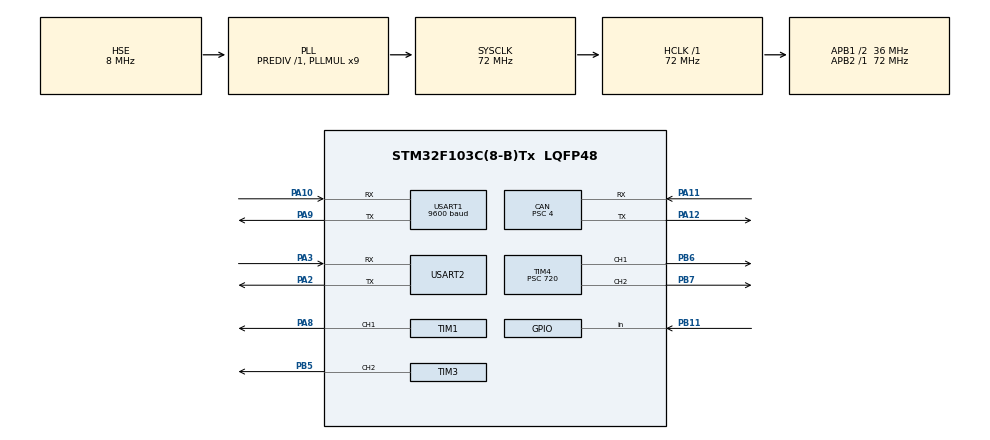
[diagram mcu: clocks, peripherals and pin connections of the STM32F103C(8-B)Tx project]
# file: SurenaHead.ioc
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CAN.BS1=CAN_BS1_3TQ
CAN.BS2=CAN_BS2_5TQ
CAN.CalculateBaudRate=1000000
CAN.CalculateTimeBit=1000
CAN.CalculateTimeQuantum=111.11111111111111
CAN.Mode=CAN_MODE_NORMAL
CAN.NART=DISABLE
CAN.Prescaler=4
CAN.SJW=CAN_SJW_1TQ
Dma.Request0=TIM1_CH1
Dma.TIM1_CH1.0.Direction=DMA_MEMORY_TO_PERIPH
Dma.TIM1_CH1.0.Instance=DMA1_Channel2
Dma.TIM1_CH1.0.MemDataAlignment=DMA_MDATAALIGN_HALFWORD
Dma.TIM1_CH1.0.MemInc=DMA_MINC_ENABLE
Dma.TIM1_CH1.0.Mode=DMA_NORMAL
Dma.TIM1_CH1.0.PeriphDataAlignment=DMA_PDATAALIGN_HALFWORD
Dma.TIM1_CH1.0.PeriphInc=DMA_PINC_DISABLE
Dma.TIM1_CH1.0.Priority=DMA_PRIORITY_LOW
Mcu.Family=STM32F1
Mcu.Name=STM32F103C(8-B)Tx
Mcu.Package=LQFP48
NVIC.DMA1_Channel2_IRQn=true\:0\:0\:false\:false\:true\:false\:true\:true
NVIC.PriorityGroup=NVIC_PRIORITYGROUP_4
NVIC.USB_LP_CAN1_RX0_IRQn=true\:0\:0\:false\:false\:true\:true\:true\:true
PA10.Mode=Asynchronous
PA10.Signal=USART1_RX
PA11.Mode=CAN_Activate
PA11.Signal=CAN_RX
PA12.Mode=CAN_Activate
PA12.Signal=CAN_TX
PA13.Mode=Trace_Asynchronous_SW
PA13.Signal=SYS_JTMS-SWDIO
PA14.Mode=Trace_Asynchronous_SW
PA14.Signal=SYS_JTCK-SWCLK
PA2.Mode=Asynchronous
PA2.Signal=USART2_TX
PA3.Mode=Asynchronous
PA3.Signal=USART2_RX
PA8.Signal=S_TIM1_CH1
PA9.Mode=Asynchronous
PA9.Signal=USART1_TX
PB11.Signal=GPIO_Input
PB3.Mode=Trace_Asynchronous_SW
PB3.Signal=SYS_JTDO-TRACESWO
PB5.Signal=S_TIM3_CH2
PB6.Signal=S_TIM4_CH1
PB7.Signal=S_TIM4_CH2
PD0-OSC_IN.Mode=HSE-External-Oscillator
PD0-OSC_IN.Signal=RCC_OSC_IN
PD1-OSC_OUT.Mode=HSE-External-Oscillator
PD1-OSC_OUT.Signal=RCC_OSC_OUT
ProjectManager.HeapSize=0x200
ProjectManager.StackSize=0x400
ProjectManager.TargetToolchain=STM32CubeIDE
RCC.AHBFreq_Value=72000000
RCC.APB1CLKDivider=RCC_HCLK_DIV2
RCC.APB1Freq_Value=36000000
RCC.APB1TimFreq_Value=72000000
RCC.APB2Freq_Value=72000000
RCC.APB2TimFreq_Value=72000000
RCC.HCLKFreq_Value=72000000
RCC.PLLMUL=RCC_PLL_MUL9
RCC.PLLSourceVirtual=RCC_PLLSOURCE_HSE
RCC.SYSCLKFreq_VALUE=72000000
RCC.SYSCLKSource=RCC_SYSCLKSOURCE_PLLCLK
RCC.USBFreq_Value=72000000
SH.S_TIM1_CH1.0=TIM1_CH1,PWM Generation1 CH1
SH.S_TIM3_CH2.0=TIM3_CH2,PWM Generation2 CH2
SH.S_TIM4_CH1.0=TIM4_CH1,PWM Generation1 CH1
SH.S_TIM4_CH2.0=TIM4_CH2,PWM Generation2 CH2
TIM1.Channel-PWM\ Generation1\ CH1=TIM_CHANNEL_1
TIM1.Period=72
TIM1.Prescaler=0
TIM3.Channel-PWM\ Generation2\ CH2=TIM_CHANNEL_2
TIM3.Period=2000
TIM3.Prescaler=720
TIM3.Pulse-PWM\ Generation2\ CH2=100
TIM4.Channel-PWM\ Generation1\ CH1=TIM_CHANNEL_1
TIM4.Channel-PWM\ Generation2\ CH2=TIM_CHANNEL_2
TIM4.OCFastMode_PWM-PWM\ Generation2\ CH2=TIM_OCFAST_ENABLE
TIM4.Period=2000
TIM4.Prescaler=720
TIM4.Pulse-PWM\ Generation1\ CH1=100
TIM4.Pulse-PWM\ Generation2\ CH2=100
USART1.BaudRate=9600
USART1.VirtualMode=VM_ASYNC
USART2.VirtualMode=VM_ASYNC
VP_TIM1_VS_ClockSourceINT.Mode=Internal
VP_TIM4_VS_ClockSourceINT.Mode=Internal
board=custom

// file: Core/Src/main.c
/* USER CODE BEGIN Header */
/**
  ******************************************************************************
  * @file           : main.c
  * @brief          : Main program body
  ******************************************************************************
  * @attention
  *
  * <h2><center>&copy; Copyright (c) 2022 STMicroelectronics.
  * All rights reserved.</center></h2>
  *
  * This software component is licensed by ST under BSD 3-Clause license,
  * the "License"; You may not use this file except in compliance with the
  * License. You may obtain a copy of the License at:
  *                        opensource.org/licenses/BSD-3-Clause
  *
  ******************************************************************************
  */
/* USER CODE END Header */
#include "main.h"

/* USER CODE BEGIN Includes */
#include <stdbool.h>
#include <stdio.h>
/* USER CODE END Includes */

CAN_HandleTypeDef hcan;

TIM_HandleTypeDef htim1;
TIM_HandleTypeDef htim3;
TIM_HandleTypeDef htim4;
DMA_HandleTypeDef hdma_tim1_ch1;

UART_HandleTypeDef huart1;
UART_HandleTypeDef huart2;

/* USER CODE BEGIN PV */
int32_t ServPosition =0,dummy=0;
bool direction=true;
uint8_t zeroValues[3]={150,150,150};

int LedBrightness=1;

#define MAX_LED 48//24
#define USE_BRIGHTNESS 1
#define PI 3.14159265

uint8_t LED_Data[MAX_LED][4];
uint8_t LED_Mod[MAX_LED][4];  // for brightness

uint16_t pwmData[(24*MAX_LED)+50];
/* USER CODE END PV */

void SystemClock_Config(void);
static void MX_GPIO_Init(void);
static void MX_DMA_Init(void);
static void MX_CAN_Init(void);
static void MX_USART2_UART_Init(void);
static void MX_USART1_UART_Init(void);
static void MX_TIM1_Init(void);
static void MX_TIM4_Init(void);
static void MX_TIM3_Init(void);

/* USER CODE BEGIN 0 */
void Set_LED (int LEDnum, int Red, int Green, int Blue)
{
	LED_Data[LEDnum][0] = LEDnum;
	LED_Data[LEDnum][1] = Green;
	LED_Data[LEDnum][2] = Red;
	LED_Data[LEDnum][3] = Blue;
}
void Set_Brightness (int brightness)  // 0-45
{
#if USE_BRIGHTNESS

	if (brightness > 45) brightness = 45;
	for (int i=0; i<MAX_LED; i++)
	{
		LED_Mod[i][0] = LED_Data[i][0];
		for (int j=1; j<4; j++)
		{
			float angle = 90-brightness;  // in degrees
			angle = angle*PI / 180;  // in rad
			LED_Mod[i][j] = (LED_Data[i][j])/(tan(angle));
		}
	}

#endif

}
void WS2812_Send (void)
{
	uint32_t indx=0;
	uint32_t color;

	for (int i= 0; i<MAX_LED; i++)
	{
#if USE_BRIGHTNESS
		color = ((LED_Mod[i][1]<<16) | (LED_Mod[i][2]<<8) | (LED_Mod[i][3]));
#else
		color = ((LED_Data[i][1]<<16) | (LED_Data[i][2]<<8) | (LED_Data[i][3]));
#endif

		for (int i=23; i>=0; i--)
		{
			if (color&(1<<i))
			{
				pwmData[indx] = 60;  // 2/3 of 90
			}

			else pwmData[indx] = 30;  // 1/3 of 90

			indx++;
		}

	}

	for (int i=0; i<50; i++)
	{
		pwmData[indx] = 0;
		indx++;
	}

	HAL_TIM_PWM_Start_DMA(&htim1, TIM_CHANNEL_1, (uint32_t *)pwmData, indx);
//	while (!datasentflag){};
//	datasentflag = 0;
}
void SetServoPositions(uint8_t  *position)
{
	printf("r= %d %d %d \n",(uint32_t)position[0],(uint32_t)position[1],(uint32_t)position[2]);
	TIM4->CCR1=(uint32_t)position[0];//50+((position[0]>190)?190:position[0]);
	TIM4->CCR2=(uint32_t)position[1];//50+((position[1]>190)?190:position[1]);
	TIM3->CCR2=(uint32_t)position[2];//50+((position[2]>190)?190:position[2]);

}
void SetServoPosition(int index ,uint8_t  position)
{

if(index==0)        TIM4->CCR1=position;//50+((position[0]>190)?190:position[0]);
else if(index==1)	TIM4->CCR2=position;//50+((position[1]>190)?190:position[1]);
else	            TIM3->CCR2=position;//50+((position[2]>190)?190:position[2]);

}
//===========================================================================================================
void HAL_CAN_RxFifo0MsgPendingCallback(CAN_HandleTypeDef *hcan)
{
	uint8_t               RxData[8];
	CAN_RxHeaderTypeDef   RxHeader;
	HAL_CAN_GetRxMessage(hcan, CAN_RX_FIFO0, &RxHeader, RxData);
//	printf("%d %d %d %d \n",RxHeader.StdId,RxData[0],RxData[1],RxData[2]);
	if(RxHeader.StdId!=0x281)return;

	  SetServoPositions(RxData);

}
//===========================================================================================================
//void canirq(CAN_HandleTypeDef *hcan)
//{
//	uint8_t               RxData[8];
//	CAN_RxHeaderTypeDef   RxHeader;
//	HAL_CAN_GetRxMessage(hcan, CAN_RX_FIFO0, &RxHeader, RxData);
////	  printf("header=%x",RxHeader);
//	  CanSend(0x12);
//}
//===========================================================================================================
//int _write(int file, char *ptr, int len)
//{
//  HAL_UART_Transmit(&huart1, (uint8_t *)ptr, len,5);
//  return  len;
//}
int _write(int file, char *ptr, int len)
{
  /* Implement your write code here, this is used by puts and printf for example */
  int i=0;
  for(i=0 ; i<len ; i++)
    ITM_SendChar((*ptr++));
  return len;
}
bool status=0;
int value[2]={420,7600};
//void SetServoValue(int command)
//{
////	if(command>420)command=420;
//	value[0]=420+command;
//	value[1]=8000-value[0];
//}
//===========================================================================================================
void HAL_TIM_PeriodElapsedCallback(TIM_HandleTypeDef *htim1)
{

if(dummy++ %100000!=0)return;
ServPosition++;
printf("pos=%d\n",ServPosition);
//	 GPIOB->ODR^=(1<<7);
//	 TIM1->ARR=value[status];
//	 status=!status;
//SetServoPosition(0, ServPosition);
//SetServoPosition(1, ServPosition);
//SetServoPosition(2, ServPosition);

// HAL_GPIO_TogglePin(GPIOA, GPIO_PIN_5);
//	if(value<ServPosition)
//
//	 GPIOB->ODR|=(1<<7);
//	 else
//		 GPIOB->ODR&=~(1<<7);
//
//	if(value++ > 3990)value=0;

}

//===========================================================================================================
void CanSend(uint32_t id)
{
	CAN_TxHeaderTypeDef   TxHeader;
	CAN_RxHeaderTypeDef   RxHeader;
	uint8_t               TxData[8];

	uint32_t              TxMailbox;
	  /*##-4- Start the Transmission process #####################################*/
	  TxHeader.StdId =id;
	  TxHeader.RTR = CAN_RTR_DATA;
	  TxHeader.IDE = CAN_ID_STD;
	  TxHeader.DLC = 2;
	  TxHeader.TransmitGlobalTime = DISABLE;
	  TxData[0] = 0xCA;
	  TxData[1] = 0xFE;

	  /* Request transmission */
	//  if(HAL_CAN_AddTxMessage(hcan, TxHeader, aData, pTxMailbox)(hcan, TxMailboxes), TxMailboxes))
	  if(HAL_CAN_AddTxMessage(&hcan, &TxHeader, &TxData, &TxMailbox) != HAL_OK)
	  {
	    /* Transmission request Error */
		  printf("can send error\n");
	  }
}
//===========================================================================================================
/* USER CODE END 0 */

int main(void)
{

  /* MCU Configuration--------------------------------------------------------*/

  /* Reset of all peripherals, Initializes the Flash interface and the Systick. */
  HAL_Init();

  /* Configure the system clock */
  SystemClock_Config();

  /* Initialize all configured peripherals */
  MX_GPIO_Init();
  MX_DMA_Init();
  MX_CAN_Init();
  MX_USART2_UART_Init();
  MX_USART1_UART_Init();
  MX_TIM1_Init();
  MX_TIM4_Init();
  MX_TIM3_Init();

  /* Infinite loop */
  /* USER CODE BEGIN WHILE */
  HAL_Delay(400);
  HAL_CAN_ActivateNotification(&hcan, CAN_IT_RX_FIFO0_MSG_PENDING);
  if (HAL_CAN_Start(&hcan) != HAL_OK)
    {
      /* Start Error */
	  printf("can start error\n");
    }
  else{
	  printf("can start ok!!!!!\n");
  }
  for (int i=0; i<6; i++){
  Set_LED(8*i+0, 0, 0, 255);
   Set_LED(8*i+1, 0, 0, 255);
   Set_LED(8*i+2, 0, 0, 255);

   Set_LED(8*i+3, 0, 0, 255);

   Set_LED(8*i+4, 0, 0, 255);
   Set_LED(8*i+5, 0, 0, 255);
   Set_LED(8*i+6, 0, 0, 255);

   Set_LED(8*i+7, 0, 0, 255);
}
  HAL_Delay(3000);
	 CanSend(0x11);
//	 HAL_TIM_Base_Start_IT(&htim1);
	 HAL_TIM_PWM_Start(&htim4, TIM_CHANNEL_2);
	 HAL_TIM_PWM_Start(&htim4, TIM_CHANNEL_1);
	 HAL_TIM_PWM_Start(&htim3, TIM_CHANNEL_2);
	 SetServoPositions(zeroValues);

  while (1)
  {

	  if(direction)LedBrightness++;
	  else LedBrightness--;
	  if(LedBrightness>45)direction=false;
	  if(LedBrightness<1)direction=true;

	  Set_Brightness(LedBrightness);
	  WS2812_Send();

	  HAL_Delay (100);

    /* USER CODE END WHILE */

  }
}

void SystemClock_Config(void)
{
  RCC_OscInitTypeDef RCC_OscInitStruct = {0};
  RCC_ClkInitTypeDef RCC_ClkInitStruct = {0};

  /** Initializes the RCC Oscillators according to the specified parameters
  * in the RCC_OscInitTypeDef structure.
  */
  RCC_OscInitStruct.OscillatorType = RCC_OSCILLATORTYPE_HSE;
  RCC_OscInitStruct.HSEState = RCC_HSE_ON;
  RCC_OscInitStruct.HSEPredivValue = RCC_HSE_PREDIV_DIV1;
  RCC_OscInitStruct.HSIState = RCC_HSI_ON;
  RCC_OscInitStruct.PLL.PLLState = RCC_PLL_ON;
  RCC_OscInitStruct.PLL.PLLSource = RCC_PLLSOURCE_HSE;
  RCC_OscInitStruct.PLL.PLLMUL = RCC_PLL_MUL9;
  if (HAL_RCC_OscConfig(&RCC_OscInitStruct) != HAL_OK)
  {
    Error_Handler();
  }

  /** Initializes the CPU, AHB and APB buses clocks
  */
  RCC_ClkInitStruct.ClockType = RCC_CLOCKTYPE_HCLK|RCC_CLOCKTYPE_SYSCLK
                              |RCC_CLOCKTYPE_PCLK1|RCC_CLOCKTYPE_PCLK2;
  RCC_ClkInitStruct.SYSCLKSource = RCC_SYSCLKSOURCE_PLLCLK;
  RCC_ClkInitStruct.AHBCLKDivider = RCC_SYSCLK_DIV1;
  RCC_ClkInitStruct.APB1CLKDivider = RCC_HCLK_DIV2;
  RCC_ClkInitStruct.APB2CLKDivider = RCC_HCLK_DIV1;

  if (HAL_RCC_ClockConfig(&RCC_ClkInitStruct, FLASH_LATENCY_2) != HAL_OK)
  {
    Error_Handler();
  }
}

static void MX_CAN_Init(void)
{

  hcan.Instance = CAN1;
  hcan.Init.Prescaler = 4;
  hcan.Init.Mode = CAN_MODE_NORMAL;
  hcan.Init.SyncJumpWidth = CAN_SJW_1TQ;
  hcan.Init.TimeSeg1 = CAN_BS1_3TQ;
  hcan.Init.TimeSeg2 = CAN_BS2_5TQ;
  hcan.Init.TimeTriggeredMode = DISABLE;
  hcan.Init.AutoBusOff = DISABLE;
  hcan.Init.AutoWakeUp = DISABLE;
  hcan.Init.AutoRetransmission = DISABLE;
  hcan.Init.ReceiveFifoLocked = DISABLE;
  hcan.Init.TransmitFifoPriority = DISABLE;
  if (HAL_CAN_Init(&hcan) != HAL_OK)
  {
    Error_Handler();
  }
  /* USER CODE BEGIN CAN_Init 2 */
  CAN_FilterTypeDef canfil; //declare CAN filter structure
  canfil.FilterBank = 0;
  canfil.FilterMode = CAN_FILTERMODE_IDMASK;
  canfil.FilterFIFOAssignment = CAN_RX_FIFO0;
  canfil.FilterIdHigh = 0;
  canfil.FilterIdLow = 0;
  canfil.FilterMaskIdHigh = 0;
  canfil.FilterMaskIdLow = 0;
  canfil.FilterScale = CAN_FILTERSCALE_32BIT;
  canfil.FilterActivation = ENABLE;
  canfil.SlaveStartFilterBank = 14;

  	HAL_CAN_ConfigFilter(&hcan, &canfil); //configure CAN filter
  /* USER CODE END CAN_Init 2 */

}

static void MX_TIM1_Init(void)
{

  TIM_ClockConfigTypeDef sClockSourceConfig = {0};
  TIM_MasterConfigTypeDef sMasterConfig = {0};
  TIM_OC_InitTypeDef sConfigOC = {0};
  TIM_BreakDeadTimeConfigTypeDef sBreakDeadTimeConfig = {0};

  htim1.Instance = TIM1;
  htim1.Init.Prescaler = 0;
  htim1.Init.CounterMode = TIM_COUNTERMODE_UP;
  htim1.Init.Period = 72;
  htim1.Init.ClockDivision = TIM_CLOCKDIVISION_DIV1;
  htim1.Init.RepetitionCounter = 0;
  htim1.Init.AutoReloadPreload = TIM_AUTORELOAD_PRELOAD_DISABLE;
  if (HAL_TIM_Base_Init(&htim1) != HAL_OK)
  {
    Error_Handler();
  }
  sClockSourceConfig.ClockSource = TIM_CLOCKSOURCE_INTERNAL;
  if (HAL_TIM_ConfigClockSource(&htim1, &sClockSourceConfig) != HAL_OK)
  {
    Error_Handler();
  }
  if (HAL_TIM_PWM_Init(&htim1) != HAL_OK)
  {
    Error_Handler();
  }
  sMasterConfig.MasterOutputTrigger = TIM_TRGO_RESET;
  sMasterConfig.MasterSlaveMode = TIM_MASTERSLAVEMODE_DISABLE;
  if (HAL_TIMEx_MasterConfigSynchronization(&htim1, &sMasterConfig) != HAL_OK)
  {
    Error_Handler();
  }
  sConfigOC.OCMode = TIM_OCMODE_PWM1;
  sConfigOC.Pulse = 0;
  sConfigOC.OCPolarity = TIM_OCPOLARITY_HIGH;
  sConfigOC.OCNPolarity = TIM_OCNPOLARITY_HIGH;
  sConfigOC.OCFastMode = TIM_OCFAST_DISABLE;
  sConfigOC.OCIdleState = TIM_OCIDLESTATE_RESET;
  sConfigOC.OCNIdleState = TIM_OCNIDLESTATE_RESET;
  if (HAL_TIM_PWM_ConfigChannel(&htim1, &sConfigOC, TIM_CHANNEL_1) != HAL_OK)
  {
    Error_Handler();
  }
  sBreakDeadTimeConfig.OffStateRunMode = TIM_OSSR_DISABLE;
  sBreakDeadTimeConfig.OffStateIDLEMode = TIM_OSSI_DISABLE;
  sBreakDeadTimeConfig.LockLevel = TIM_LOCKLEVEL_OFF;
  sBreakDeadTimeConfig.DeadTime = 0;
  sBreakDeadTimeConfig.BreakState = TIM_BREAK_DISABLE;
  sBreakDeadTimeConfig.BreakPolarity = TIM_BREAKPOLARITY_HIGH;
  sBreakDeadTimeConfig.AutomaticOutput = TIM_AUTOMATICOUTPUT_DISABLE;
  if (HAL_TIMEx_ConfigBreakDeadTime(&htim1, &sBreakDeadTimeConfig) != HAL_OK)
  {
    Error_Handler();
  }
  HAL_TIM_MspPostInit(&htim1);

}

static void MX_TIM3_Init(void)
{

  TIM_MasterConfigTypeDef sMasterConfig = {0};
  TIM_OC_InitTypeDef sConfigOC = {0};

  htim3.Instance = TIM3;
  htim3.Init.Prescaler = 720;
  htim3.Init.CounterMode = TIM_COUNTERMODE_UP;
  htim3.Init.Period = 2000;
  htim3.Init.ClockDivision = TIM_CLOCKDIVISION_DIV1;
  htim3.Init.AutoReloadPreload = TIM_AUTORELOAD_PRELOAD_DISABLE;
  if (HAL_TIM_PWM_Init(&htim3) != HAL_OK)
  {
    Error_Handler();
  }
  sMasterConfig.MasterOutputTrigger = TIM_TRGO_RESET;
  sMasterConfig.MasterSlaveMode = TIM_MASTERSLAVEMODE_DISABLE;
  if (HAL_TIMEx_MasterConfigSynchronization(&htim3, &sMasterConfig) != HAL_OK)
  {
    Error_Handler();
  }
  sConfigOC.OCMode = TIM_OCMODE_PWM1;
  sConfigOC.Pulse = 100;
  sConfigOC.OCPolarity = TIM_OCPOLARITY_HIGH;
  sConfigOC.OCFastMode = TIM_OCFAST_DISABLE;
  if (HAL_TIM_PWM_ConfigChannel(&htim3, &sConfigOC, TIM_CHANNEL_2) != HAL_OK)
  {
    Error_Handler();
  }
  HAL_TIM_MspPostInit(&htim3);

}

static void MX_TIM4_Init(void)
{

  TIM_ClockConfigTypeDef sClockSourceConfig = {0};
  TIM_MasterConfigTypeDef sMasterConfig = {0};
  TIM_OC_InitTypeDef sConfigOC = {0};

  htim4.Instance = TIM4;
  htim4.Init.Prescaler = 720;
  htim4.Init.CounterMode = TIM_COUNTERMODE_UP;
  htim4.Init.Period = 2000;
  htim4.Init.ClockDivision = TIM_CLOCKDIVISION_DIV1;
  htim4.Init.AutoReloadPreload = TIM_AUTORELOAD_PRELOAD_DISABLE;
  if (HAL_TIM_Base_Init(&htim4) != HAL_OK)
  {
    Error_Handler();
  }
  sClockSourceConfig.ClockSource = TIM_CLOCKSOURCE_INTERNAL;
  if (HAL_TIM_ConfigClockSource(&htim4, &sClockSourceConfig) != HAL_OK)
  {
    Error_Handler();
  }
  if (HAL_TIM_PWM_Init(&htim4) != HAL_OK)
  {
    Error_Handler();
  }
  sMasterConfig.MasterOutputTrigger = TIM_TRGO_RESET;
  sMasterConfig.MasterSlaveMode = TIM_MASTERSLAVEMODE_DISABLE;
  if (HAL_TIMEx_MasterConfigSynchronization(&htim4, &sMasterConfig) != HAL_OK)
  {
    Error_Handler();
  }
  sConfigOC.OCMode = TIM_OCMODE_PWM1;
  sConfigOC.Pulse = 100;
  sConfigOC.OCPolarity = TIM_OCPOLARITY_HIGH;
  sConfigOC.OCFastMode = TIM_OCFAST_DISABLE;
  if (HAL_TIM_PWM_ConfigChannel(&htim4, &sConfigOC, TIM_CHANNEL_1) != HAL_OK)
  {
    Error_Handler();
  }
  sConfigOC.OCFastMode = TIM_OCFAST_ENABLE;
  if (HAL_TIM_PWM_ConfigChannel(&htim4, &sConfigOC, TIM_CHANNEL_2) != HAL_OK)
  {
    Error_Handler();
  }
  HAL_TIM_MspPostInit(&htim4);

}

static void MX_USART1_UART_Init(void)
{

  huart1.Instance = USART1;
  huart1.Init.BaudRate = 9600;
  huart1.Init.WordLength = UART_WORDLENGTH_8B;
  huart1.Init.StopBits = UART_STOPBITS_1;
  huart1.Init.Parity = UART_PARITY_NONE;
  huart1.Init.Mode = UART_MODE_TX_RX;
  huart1.Init.HwFlowCtl = UART_HWCONTROL_NONE;
  huart1.Init.OverSampling = UART_OVERSAMPLING_16;
  if (HAL_UART_Init(&huart1) != HAL_OK)
  {
    Error_Handler();
  }

}

static void MX_USART2_UART_Init(void)
{

  huart2.Instance = USART2;
  huart2.Init.BaudRate = 115200;
  huart2.Init.WordLength = UART_WORDLENGTH_8B;
  huart2.Init.StopBits = UART_STOPBITS_1;
  huart2.Init.Parity = UART_PARITY_NONE;
  huart2.Init.Mode = UART_MODE_TX_RX;
  huart2.Init.HwFlowCtl = UART_HWCONTROL_NONE;
  huart2.Init.OverSampling = UART_OVERSAMPLING_16;
  if (HAL_UART_Init(&huart2) != HAL_OK)
  {
    Error_Handler();
  }

}

static void MX_DMA_Init(void)
{

  /* DMA controller clock enable */
  __HAL_RCC_DMA1_CLK_ENABLE();

  /* DMA interrupt init */
  /* DMA1_Channel2_IRQn interrupt configuration */
  HAL_NVIC_SetPriority(DMA1_Channel2_IRQn, 0, 0);
  HAL_NVIC_EnableIRQ(DMA1_Channel2_IRQn);

}

static void MX_GPIO_Init(void)
{
  GPIO_InitTypeDef GPIO_InitStruct = {0};

  /* GPIO Ports Clock Enable */
  __HAL_RCC_GPIOD_CLK_ENABLE();
  __HAL_RCC_GPIOA_CLK_ENABLE();
  __HAL_RCC_GPIOB_CLK_ENABLE();

  /*Configure GPIO pin : PB11 */
  GPIO_InitStruct.Pin = GPIO_PIN_11;
  GPIO_InitStruct.Mode = GPIO_MODE_INPUT;
  GPIO_InitStruct.Pull = GPIO_NOPULL;
  HAL_GPIO_Init(GPIOB, &GPIO_InitStruct);

}

void Error_Handler(void)
{
  __disable_irq();
  while (1)
  {
  }
}
